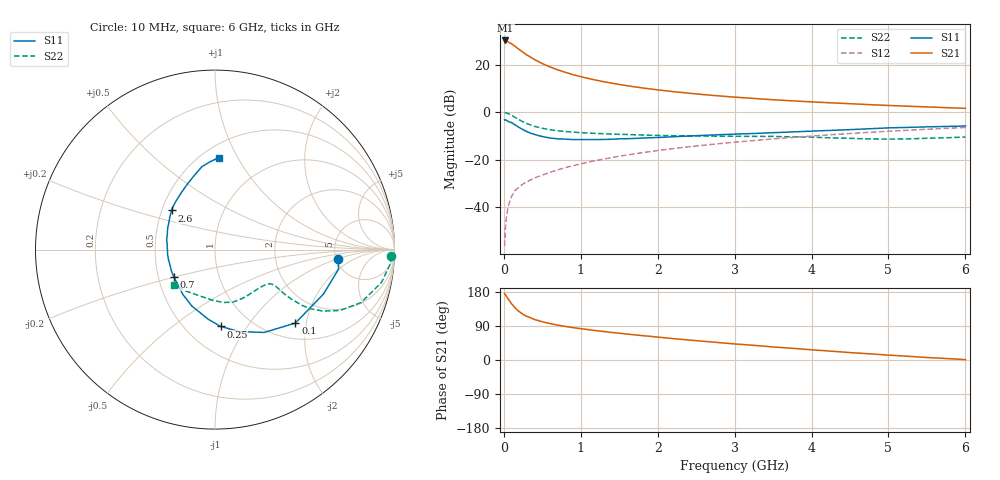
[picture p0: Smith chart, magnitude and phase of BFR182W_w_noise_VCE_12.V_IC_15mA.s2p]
! (c) 2017  Infineon Technologies AG, Munich
! Infineon Technologies  Discrete & RF Semiconductors
! BFR182W
! VCE =  12. V,  IC =  15 mA
! Common Emitter S-Parameters:  Jan 2017
# GHz  S  MA  R  50
!  f  S11  S21  S12  S22
! GHz  MAG  ANG  MAG  ANG  MAG  ANG  MAG  ANG
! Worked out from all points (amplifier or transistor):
!   77 points, 10 MHz to 6 GHz, reference 50 ohm
!   highest |S21| = 30.3 dB at 20 MHz (marker M1)
!   |S21| within 3 dB of that: start of sweep to 166.9 MHz
!   unconditionally stable (mu >= 1): 945.2 MHz to 2.533 GHz
!   at 130 MHz: K = 0.37, MSG = 31.0 dB, |S12| = -33.9 dB
!   at 2.2 GHz: K = 1.02, MAG = 11.2 dB, |S12| = -15.4 dB
!   at 6 GHz: K = 0.86, MSG = 4.0 dB, |S12| = -6.4 dB
!   lowest NFmin = 1.25 dB at 450 MHz
!   S11 on the Smith chart (normalised r, x): 10 MHz: 5.17, -0.98; 100 MHz: 1.34, -1.73; 250 MHz: 0.73, -0.76; 700 MHz: 0.60, -0.20; 2.6 GHz: 0.56, +0.27; 6 GHz: 0.60, +0.84
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0.01  0.6855 -4.2  32.48 175.2  0.0015 75.4  0.9812 -2.1
0.02  0.6974 -8.9  32.59 172.3  0.0036 81.1  0.9801 -4.6
0.05  0.6532 -22.3  30.88 162.8  0.009 75.9  0.9464 -11.0
0.1  0.6068 -42.4  27.8 148.4  0.0167 71.2  0.8665 -19.9
0.15  0.5369 -59.3  24.22 136.7  0.0228 65.7  0.7738 -26.0
0.2  0.4761 -73.6  20.98 127.6  0.0264 64.7  0.6937 -29.6
0.25  0.4294 -85.8  18.32 120.4  0.0309 63.5  0.6275 -31.7
0.3  0.3898 -95.6  16.07 115.0  0.0341 63.1  0.5743 -32.7
0.4  0.34 -112.2  12.86 106.7  0.0411 63.4  0.5027 -33.0
0.5  0.3073 -125.6  10.61 100.8  0.0473 63.8  0.4582 -32.6
0.6  0.2862 -136.6  9.034 96.1  0.0542 65.2  0.4279 -31.9
0.7  0.2747 -146.4  7.837 92.1  0.0608 66.4  0.407 -31.4
0.9  0.2649 -161.3  6.195 85.5  0.0745 67.7  0.381 -31.1
1.1  0.2654 -173.2  5.147 80.1  0.0893 68.5  0.364 -31.6
1.3  0.2668 176.6  4.392 75.1  0.1027 68.5  0.3521 -32.9
1.5  0.2749 168.5  3.847 70.7  0.1183 68.3  0.3418 -34.8
2.1  0.2983 149.5  2.839 58.5  0.1632 66.0  0.322 -43.7
2.6  0.3258 137.9  2.35 49.3  0.2017 63.3  0.3136 -53.6
3.1  0.3499 127.3  2.028 41.0  0.2411 59.7  0.3103 -63.4
4.1  0.4053 110.6  1.623 25.5  0.3229 51.9  0.2941 -83.4
5.1  0.472 97.7  1.368 11.7  0.4048 42.8  0.2719 -112.5
6  0.5129 87.5  1.207 1.0  0.4765 33.9  0.3008 -139.6
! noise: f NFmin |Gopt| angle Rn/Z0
0.45  1.25  0.04  146  0.15
0.9  1.33  0.05  146  0.15
1.9  1.82  0.24  -148  0.15
2.4  2.07  0.24  -133  0.22
